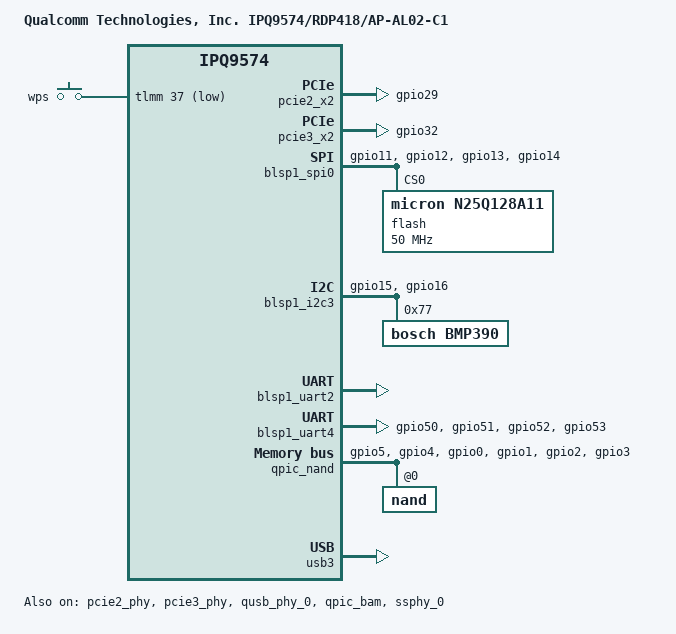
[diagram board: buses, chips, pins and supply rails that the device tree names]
// SPDX-License-Identifier: (GPL-2.0+ OR BSD-3-Clause)
/*
 * IPQ9574 RDP418 board device tree source
 *
 * Copyright (c) 2020-2021 The Linux Foundation. All rights reserved.
 * Copyright (c) 2022-2023 Qualcomm Innovation Center, Inc. All rights reserved.
 */

/dts-v1/;

#include <dt-bindings/gpio/gpio.h>
#include <dt-bindings/input/input.h>
#include "ipq9574.dtsi"

/ {
	model = "Qualcomm Technologies, Inc. IPQ9574/RDP418/AP-AL02-C1";
	compatible = "qcom,ipq9574-ap-al02-c1", "qcom,ipq9574-rdp418", "qcom,ipq9574";

	aliases {
		serial0 = &blsp1_uart2;
		serial1 = &blsp1_uart4;
	};

	chosen {
		stdout-path = "serial0:115200n8";
	};

	soc@0 {
		gpio_keys {
			compatible = "gpio-keys";
			pinctrl-0 = <&button_pins>;
			pinctrl-names = "default";
			status = "okay";

			button@1 {
				label = "wps";
				linux,code = <KEY_WPS_BUTTON>;
				gpios = <&tlmm 37 GPIO_ACTIVE_LOW>;
				linux,input-type = <1>;
				debounce-interval = <60>;
			};
		};
	};
};

&pcie2_x2 {
	pinctrl-0 = <&pci2_pin>;
	pinctrl-names = "default";
	perst-gpio = <&tlmm 29 GPIO_ACTIVE_LOW>;
	status = "okay";

	pcie2_rp {
		reg = <0 0 0 0 0>;
	};
};

&pcie2_phy {
	status = "okay";
};

&pcie3_x2 {
	pinctrl-0 = <&pci3_pin>;
	pinctrl-names = "default";
	perst-gpio = <&tlmm 32 GPIO_ACTIVE_LOW>;
	status = "okay";

	pcie3_rp {
		reg = <0 0 0 0 0>;
	};
};

&pcie3_phy {
	status = "okay";
};

&qusb_phy_0 {
	status = "okay";
};

&blsp1_spi0 { /* BLSP1 QUP0 */
	pinctrl-0 = <&spi_0_pins>;
	pinctrl-names = "default";
	cs-select = <0>;
	status = "okay";

	flash@0 {
		compatible = "micron,n25q128a11", "jedec,spi-nor";
		reg = <0>;
		#address-cells = <1>;
		#size-cells = <1>;
		spi-max-frequency = <50000000>;
	};
};

&blsp1_i2c3 {
	pinctrl-0 = <&i2c_3_pins>;
	pinctrl-names = "default";
	status = "okay";

	bmp390@77 {
		compatible = "bosch,bmp390";
		reg = <0x77>;
	};
};

&blsp1_uart2 {
	pinctrl-0 = <&uart2_pins>;
	pinctrl-names = "default";
	status = "okay";
};

&blsp1_uart4 {
	pinctrl-0 = <&uart4_pins>;
	pinctrl-names = "default";
	status = "okay";
};

&qpic_bam {
	status = "okay";
};

&qpic_nand {
	pinctrl-0 = <&qspi_nand_pins>;
	pinctrl-names = "default";
	qcom,io_macro_max_clk = <320000000>;
	qcom,io_macro_clk_rates = <24000000 100000000 200000000 \
				   320000000>;
	status = "okay";

	nand@0 {
		reg = <0>;
		#address-cells = <1>;
		#size-cells = <1>;
		nand-ecc-strength = <4>;
		nand-ecc-step-size = <512>;
		nand-bus-width = <8>;
	};
};

&sdhc_1 {
	pinctrl-0 = <&sdc_default_state>;
	pinctrl-names = "default";
	mmc-ddr-1_8v;
	mmc-hs200-1_8v;
	mmc-hs400-1_8v;
	mmc-hs400-enhanced-strobe;
	max-frequency = <384000000>;
	status = "disabled";
};

&sleep_clk {
	clock-frequency = <32000>;
};

&ssphy_0 {
	status = "okay";
};

&rpm_requests {
	regulators {
		compatible = "qcom,rpm-mp5496-regulators";

		ipq9574_s1: s1 {
		 /*
		 * During kernel bootup, the SoC runs at 800MHz with 875mV set by the bootloaders.
		 * During regulator registration, kernel not knowing the initial voltage,
		 * considers it as zero and brings up the regulators with minimum supported voltage.
		 * Updating the regulator-min-microvolt with SVS voltage of 725000uV so that
		 * the regulators are brought up with 725000uV which is sufficient for all the
		 * corner parts to operate at 800MHz
		 */
			regulator-min-microvolt = <725000>;
			regulator-max-microvolt = <1075000>;
		};
	};
};

&tlmm {
	pci2_pin: pci2-default-state {
		pins = "gpio29";
		function = "gpio";
		drive-strength = <8>;
		bias-pull-down;
		output-low;
	};

	pci3_pin: pci3-default-state {
		pins = "gpio32";
		function = "gpio";
		drive-strength = <8>;
		bias-pull-up;
		output-low;
	};

	i2c_3_pins: i2c-3-pins {
		pins = "gpio15", "gpio16";
		function = "blsp3_i2c";
		drive-strength = <8>;
		bias-disable;
	};

	button_pins: button-state {
		pins = "gpio37";
		function = "gpio";
		drive-strength = <8>;
		bias-pull-up;
	};

	uart4_pins: uart4-pins {
		pins = "gpio50", "gpio51", "gpio52", "gpio53";
		function = "blsp4_uart";
		drive-strength = <8>;
		bias-disable;
	};

	spi_0_pins: spi-0-pins {
		pins = "gpio11", "gpio12", "gpio13", "gpio14";
		function = "blsp0_spi";
		drive-strength = <8>;
		bias-disable;
	};

	qspi_nand_pins: qspi_nand_pins {
		qspi_clock {
			pins = "gpio5";
			function = "qspi_clk";
			drive-strength = <8>;
			bias-disable;
		};

		qspi_cs {
			pins = "gpio4";
			function = "qspi_cs";
			drive-strength = <8>;
			bias-disable;
		};

		qspi_data {
			pins = "gpio0", "gpio1", "gpio2", "gpio3";
			function = "qspi_data";
			drive-strength = <8>;
			bias-disable;
		};
	};

	sdc_default_state: sdc-default-state {
		clk-pins {
			pins = "gpio5";
			function = "sdc_clk";
			drive-strength = <8>;
			bias-disable;
		};

		cmd-pins {
			pins = "gpio4";
			function = "sdc_cmd";
			drive-strength = <8>;
			bias-pull-up;
		};

		data-pins {
			pins = "gpio0", "gpio1", "gpio2",
				"gpio3", "gpio6", "gpio7",
				"gpio8", "gpio9";
			function = "sdc_data";
			drive-strength = <8>;
			bias-pull-up;
		};

		rclk-pins {
			pins = "gpio10";
			function = "sdc_rclk";
			drive-strength = <8>;
			bias-pull-down;
		};
	};
};

&usb3 {
	status = "okay";
};

&xo_board_clk {
	clock-frequency = <24000000>;
};
